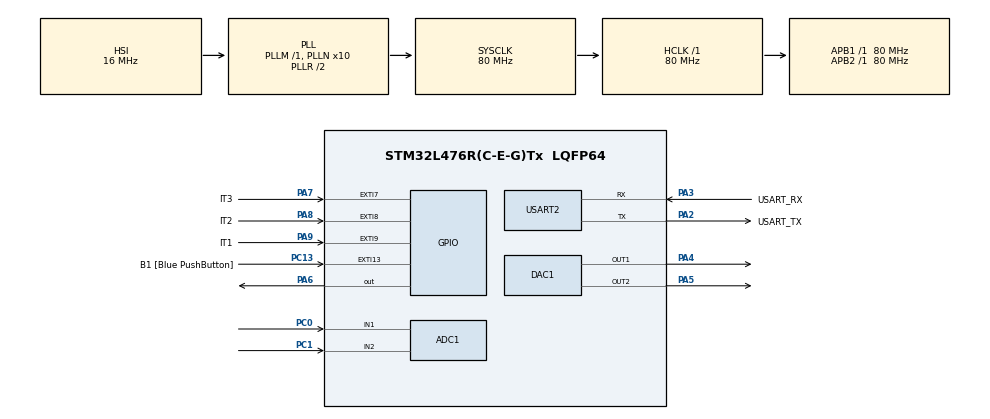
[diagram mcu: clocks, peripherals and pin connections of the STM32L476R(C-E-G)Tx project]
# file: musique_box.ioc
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ADC1.Channel-1\#ChannelRegularConversion=ADC_CHANNEL_1
ADC1.Channel-2\#ChannelRegularConversion=ADC_CHANNEL_2
ADC1.NbrOfConversion=2
ADC1.NbrOfConversionFlag=1
ADC1.OffsetNumber-1\#ChannelRegularConversion=ADC_OFFSET_NONE
ADC1.OffsetNumber-2\#ChannelRegularConversion=ADC_OFFSET_NONE
ADC1.Rank-1\#ChannelRegularConversion=1
ADC1.Rank-2\#ChannelRegularConversion=2
ADC1.SamplingTime-1\#ChannelRegularConversion=ADC_SAMPLETIME_640CYCLES_5
ADC1.SamplingTime-2\#ChannelRegularConversion=ADC_SAMPLETIME_640CYCLES_5
ADC1.master=1
DAC1.DAC_Channel-DAC_OUT2=DAC_CHANNEL_2
Mcu.Family=STM32L4
Mcu.Name=STM32L476R(C-E-G)Tx
Mcu.Package=LQFP64
NVIC.EXTI9_5_IRQn=true\:8\:0\:true\:false\:true\:true\:true
NVIC.PriorityGroup=NVIC_PRIORITYGROUP_4
NVIC.USART2_IRQn=true\:0\:0\:false\:false\:true\:true\:true
PA13\ (JTMS-SWDIO).GPIO_Label=TMS
PA13\ (JTMS-SWDIO).Mode=Serial_Wire
PA13\ (JTMS-SWDIO).Signal=SYS_JTMS-SWDIO
PA14\ (JTCK-SWCLK).GPIO_Label=TCK
PA14\ (JTCK-SWCLK).Mode=Serial_Wire
PA14\ (JTCK-SWCLK).Signal=SYS_JTCK-SWCLK
PA2.GPIO_Label=USART_TX
PA2.GPIO_Mode=GPIO_MODE_AF_PP
PA2.GPIO_PuPd=GPIO_NOPULL
PA2.GPIO_Speed=GPIO_SPEED_FREQ_VERY_HIGH
PA2.Mode=Asynchronous
PA2.Signal=USART2_TX
PA3.GPIO_Label=USART_RX
PA3.GPIO_Mode=GPIO_MODE_AF_PP
PA3.GPIO_PuPd=GPIO_NOPULL
PA3.GPIO_Speed=GPIO_SPEED_FREQ_VERY_HIGH
PA3.Mode=Asynchronous
PA3.Signal=USART2_RX
PA4.Signal=COMP_DAC11_group
PA5.Signal=COMP_DAC12_group
PA6.Signal=GPIO_Output
PA7.GPIO_Label=IT3
PA7.GPIO_ModeDefaultEXTI=GPIO_MODE_IT_RISING_FALLING
PA7.GPIO_PuPd=GPIO_PULLUP
PA7.Signal=GPXTI7
PA8.GPIO_Label=IT2
PA8.GPIO_ModeDefaultEXTI=GPIO_MODE_IT_RISING_FALLING
PA8.GPIO_PuPd=GPIO_PULLUP
PA8.Signal=GPXTI8
PA9.GPIO_Label=IT1
PA9.GPIO_ModeDefaultEXTI=GPIO_MODE_IT_RISING_FALLING
PA9.GPIO_PuPd=GPIO_PULLUP
PA9.Signal=GPXTI9
PB3\ (JTDO-TRACESWO).GPIO_Label=SWO
PB3\ (JTDO-TRACESWO).Signal=SYS_JTDO-SWO
PC0.Signal=ADCx_IN1
PC1.Signal=ADCx_IN2
PC13.GPIO_Label=B1 [Blue PushButton]
PC13.GPIO_ModeDefaultEXTI=GPIO_MODE_IT_FALLING
PC13.GPIO_PuPd=GPIO_NOPULL
PC13.Signal=GPXTI13
PC14-OSC32_IN\ (PC14).Mode=LSE-External-Oscillator
PC14-OSC32_IN\ (PC14).Signal=RCC_OSC32_IN
PC15-OSC32_OUT\ (PC15).Mode=LSE-External-Oscillator
PC15-OSC32_OUT\ (PC15).Signal=RCC_OSC32_OUT
PH0-OSC_IN\ (PH0).Signal=RCC_OSC_IN
PH1-OSC_OUT\ (PH1).Signal=RCC_OSC_OUT
ProjectManager.HeapSize=0x200
ProjectManager.StackSize=0x400
ProjectManager.TargetToolchain=STM32CubeIDE
RCC.ADCFreq_Value=64000000
RCC.AHBFreq_Value=80000000
RCC.APB1Freq_Value=80000000
RCC.APB1TimFreq_Value=80000000
RCC.APB2Freq_Value=80000000
RCC.APB2TimFreq_Value=80000000
RCC.CortexFreq_Value=80000000
RCC.HCLKFreq_Value=80000000
RCC.HSE_VALUE=8000000
RCC.HSI_VALUE=16000000
RCC.MSI_VALUE=4000000
RCC.PLLN=10
RCC.PLLSourceVirtual=RCC_PLLSOURCE_HSI
RCC.PREFETCH_ENABLE=1
RCC.SYSCLKFreq_VALUE=80000000
RCC.SYSCLKSource=RCC_SYSCLKSOURCE_PLLCLK
RCC.USBFreq_Value=64000000
RCC.VCOOutputFreq_Value=160000000
SH.ADCx_IN1.0=ADC1_IN1,IN1-Single-Ended
SH.ADCx_IN2.0=ADC1_IN2,IN2-Single-Ended
SH.COMP_DAC11_group.0=DAC1_OUT1,DAC_OUT1
SH.COMP_DAC12_group.0=DAC1_OUT2,DAC_OUT2
USART2.VirtualMode-Asynchronous=VM_ASYNC
VP_ADC1_Vref_Input.Mode=IN-Vrefint
board=NUCLEO-L476RG

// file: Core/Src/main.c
/* USER CODE BEGIN Header */
/**
  ******************************************************************************
  * @file           : main.c
  * @brief          : Main program body
  ******************************************************************************
  * @attention
  *
  * <h2><center>&copy; Copyright (c) 2022 STMicroelectronics.
  * All rights reserved.</center></h2>
  *
  * This software component is licensed by ST under BSD 3-Clause license,
  * the "License"; You may not use this file except in compliance with the
  * License. You may obtain a copy of the License at:
  *                        opensource.org/licenses/BSD-3-Clause
  *
  ******************************************************************************
  */
/* USER CODE END Header */
#include "main.h"

/* USER CODE BEGIN PM */
#define min(a,b) (((a) < (b)) ? (a) : (b))
#define max(a,b) (((a) > (b)) ? (a) : (b))

/* USER CODE END PM */

ADC_HandleTypeDef hadc1;

DAC_HandleTypeDef hdac1;

UART_HandleTypeDef huart2;

/* USER CODE BEGIN PV */

uint32_t adc_vals_old[2] = {};
uint32_t adc_vals[2];

uint8_t rx = 0;
uint8_t rx_buf[128] = {0};
int tail = 0, head = 0;

uint8_t notes[128] = {0};
uint8_t note_priority = 1;
uint32_t tones[] = {1508, 1587, 1666, 1745, 1824, 1903, 1986, 2065, 2146, 2225, 2304, 2383,
		1508, 1587, 1666, 1745, 1824, 1903, 1986, 2065, 2146, 2225, 2304, 2383,
		1508, 1587, 1666, 1745, 1824, 1903, 1986, 2065, 2146, 2225, 2304, 2383,
		1508, 1587, 1666, 1745, 1824, 1903, 1986, 2065, 2146, 2225, 2304, 2383,
		1508, 1587, 1666, 1745, 1824, 1903, 1986, 2065, 2146, 2225, 2304, 2383,
		/*c4*/ 1508, 1587, 1666, 1745, 1824, 1903, 1986, 2065, 2146, 2225, 2304, 2383,
		1508, 1587, 1666, 1745, 1824, 1903, 1986, 2065, 2146, 2225, 2304, 2383,
		1508, 1587, 1666, 1745, 1824, 1903, 1986, 2065, 2146, 2225, 2304, 2383,
		1508, 1587, 1666, 1745, 1824, 1903, 1986, 2065, 2146, 2225, 2304, 2383,
		1508, 1587, 1666, 1745, 1824, 1903, 1986, 2065, 2146, 2225, 2304, 2383,
		1508, 1587, 1666, 1745, 1824, 1903, 1986, 2065, 2146, 2225, 2304, 2383,
		1508, 1587, 1666, 1745, 1824, 1903, 1986, 2065};

/* USER CODE END PV */

void SystemClock_Config(void);
static void MX_GPIO_Init(void);
static void MX_USART2_UART_Init(void);
static void MX_ADC1_Init(void);
static void MX_DAC1_Init(void);

/* USER CODE BEGIN 0 */

uint32_t endian_swap(uint32_t value)
{
	_Static_assert(sizeof(uint32_t) == 4, "I can't imagine world where this is false");
	char buf[sizeof(uint32_t)];
	memcpy(buf, &value, sizeof(value));
	// swap(buf[0], buf[3])
	uint32_t t = buf[0]; buf[0] = buf[3]; buf[3] = t;
	// swap(buf[1], buf[2])
	t = buf[1];	buf[1] = buf[2]; buf[2] = t;
	memcpy(&value, buf, sizeof(value));
	return value;
}

void HAL_GPIO_EXTI_Callback(uint16_t GPIO_Pin)
{
	if (GPIO_Pin == IT1_Pin) {
		uint8_t val = 0b10000000;
		//HAL_UART_Transmit(&huart2, (uint8_t *) &val, sizeof(val), HAL_MAX_DELAY);

		if(HAL_GPIO_ReadPin(GPIOA, GPIO_PIN_9)){
			// falling
			printf("D%04lu\n", 0);
		} else{
			// rising
			printf("D%04lu\n", 4095);
		}
	}

	if (GPIO_Pin == IT2_Pin) {
		uint8_t val = 0b10000001;
		//HAL_UART_Transmit(&huart2, (uint8_t *) &val, sizeof(val), HAL_MAX_DELAY);
		if(HAL_GPIO_ReadPin(GPIOA, GPIO_PIN_8)){
			// falling
			printf("C%04lu\n", 0);
		} else{
			// rising
			printf("C%04lu\n", 4095);
		}
	}

	if (GPIO_Pin == IT3_Pin) {
		uint8_t val = 0b10000010;
		//HAL_UART_Transmit(&huart2, (uint8_t *) &val, sizeof(val), HAL_MAX_DELAY);
		if(HAL_GPIO_ReadPin(GPIOA, GPIO_PIN_7)){
			// falling
			printf("E%04lu\n", 0);
		} else{
			// rising
			printf("E%04lu\n", 4095);
		}
	}
}

int __io_putchar(int ch)
{
	if (ch == '\n') {
		__io_putchar('\r');
	}
    HAL_UART_Transmit(&huart2, (uint8_t*)&ch, 1, HAL_MAX_DELAY);
    return 1;
}

/* USER CODE END 0 */

int main(void)
{

  /* MCU Configuration--------------------------------------------------------*/

  /* Reset of all peripherals, Initializes the Flash interface and the Systick. */
  HAL_Init();

  /* Configure the system clock */
  SystemClock_Config();

  /* Initialize all configured peripherals */
  MX_GPIO_Init();
  MX_USART2_UART_Init();
  MX_ADC1_Init();
  MX_DAC1_Init();
  /* USER CODE BEGIN 2 */

  // start both DAC channels
  HAL_DAC_Start(&hdac1, DAC1_CHANNEL_1);
  HAL_DAC_Start(&hdac1, DAC1_CHANNEL_2);

  // configure built-in ADC
  HAL_ADCEx_Calibration_Start(&hadc1, ADC_SINGLE_ENDED);

  HAL_UART_Receive_IT(&huart2, &rx, 1);
  /* USER CODE END 2 */

  /* Infinite loop */
  /* USER CODE BEGIN WHILE */
  while (1)
  {
	/*int transmit_flag = 0;
	char adc_chars[sizeof(uint32_t)] = {};

	for(int i = 0; i < 2; i++){
		HAL_ADC_Start(&hadc1);
		HAL_ADC_PollForConversion(&hadc1, HAL_MAX_DELAY);
		adc_vals[i] = HAL_ADC_GetValue(&hadc1);
		if((adc_vals[i] > adc_vals_old[i] && adc_vals[i] - adc_vals_old[i] > 100) ||
				(adc_vals[i] < adc_vals_old[i] && adc_vals_old[i] - adc_vals[i] > 100)){
			printf("NR %d do zmiany\n", i);
			uint32_t temp = adc_vals[i];
			adc_vals_old[i] = temp;

			adc_vals[i] = endian_swap(temp);
			memcpy(adc_chars + (sizeof(uint32_t)*i), &adc_vals[i], sizeof(uint32_t));
			transmit_flag = 1;
		}

	}

	if(transmit_flag == 1){
		//HAL_UART_Transmit(&huart2, (uint8_t *) &adc_chars[0], 2 * sizeof(uint32_t), HAL_MAX_DELAY);
	}*/

	int note_update_flag = 0;
	if (head != tail){
		if((rx_buf[tail] & 0b11110000) == 0b10010000){
			// note on
			int bytes_available = (head - tail + 128) % 128;
			if (bytes_available >= 3){
				// if all 3 bytes available
				// printf("G%04d\n", rx_buf[tail+1]);
				notes[rx_buf[tail+1]] = note_priority++;
				note_update_flag = 1;
				tail = (tail+3)%128;
			}

		}else if((rx_buf[tail] & 0b11110000) == 0b10000000){
			// note off
			int bytes_available = (head - tail + 128) % 128;
			if (bytes_available >= 3){
				// if all 3 bytes available
				// printf("G%04d\n", rx_buf[tail+1]);
				notes[rx_buf[tail+1]] = 0;
				note_update_flag = 1;
				tail = (tail+3)%128;
			}
		}else{
			// anything else
			// for now drop the data
			tail = (tail+1)%128;
		}

		if(note_update_flag){
			int newest_note = -1;
			uint8_t max_priority = 0;
			for(int i = 0; i < 128; i++){
				if(notes[i] > max_priority){
					max_priority = notes[i];
					newest_note = i;
				}
			}
			if(newest_note >= 0){
				DAC1->DHR12R1 = max(min(tones[newest_note], 4095), 0);
				HAL_GPIO_WritePin(GPIOA, GPIO_PIN_6, GPIO_PIN_SET);
			}else{
				HAL_GPIO_WritePin(GPIOA, GPIO_PIN_6, GPIO_PIN_RESET);
			}
		}

		/////////////////////// A //////////////////////
		/*uint8_t data[3];
		data[0] = 0b10010000;
		data[1] = rx_buf[tail];
		data[2] = 0b01111111;
		HAL_UART_Transmit(&huart3, &data[0], 3, HAL_MAX_DELAY);

		HAL_Delay(500);
		data[0] = 0b10000000;
		HAL_UART_Transmit(&huart3, &data[0], 3, HAL_MAX_DELAY);

		tail = (tail+1)%128;*/
	}

	char adc_chars[sizeof(uint32_t)] = {};

	for(int i = 0; i < 2; i++){
		HAL_ADC_Start(&hadc1);
		HAL_ADC_PollForConversion(&hadc1, HAL_MAX_DELAY);
		adc_vals[i] = 4095 - HAL_ADC_GetValue(&hadc1);
	}

	printf("A%04lu\n", adc_vals[0]);
	printf("B%04lu\n", adc_vals[1]);

/*
	for(int i = 0; i < 2; i++){
		uint32_t temp = adc_vals[i];
		adc_vals[i] = endian_swap(temp) << 3;

		memcpy(adc_chars + (sizeof(uint32_t)*i), &adc_vals[i], sizeof(uint32_t));
	}

	HAL_UART_Transmit(&huart2, (uint8_t *) &adc_chars[0], 2 * sizeof(uint32_t), HAL_MAX_DELAY);
*/
	HAL_Delay(100);

    /* USER CODE END WHILE */

  }
}

void SystemClock_Config(void)
{
  RCC_OscInitTypeDef RCC_OscInitStruct = {0};
  RCC_ClkInitTypeDef RCC_ClkInitStruct = {0};

  /** Configure the main internal regulator output voltage
  */
  if (HAL_PWREx_ControlVoltageScaling(PWR_REGULATOR_VOLTAGE_SCALE1) != HAL_OK)
  {
    Error_Handler();
  }
  /** Initializes the RCC Oscillators according to the specified parameters
  * in the RCC_OscInitTypeDef structure.
  */
  RCC_OscInitStruct.OscillatorType = RCC_OSCILLATORTYPE_HSI;
  RCC_OscInitStruct.HSIState = RCC_HSI_ON;
  RCC_OscInitStruct.HSICalibrationValue = RCC_HSICALIBRATION_DEFAULT;
  RCC_OscInitStruct.PLL.PLLState = RCC_PLL_ON;
  RCC_OscInitStruct.PLL.PLLSource = RCC_PLLSOURCE_HSI;
  RCC_OscInitStruct.PLL.PLLM = 1;
  RCC_OscInitStruct.PLL.PLLN = 10;
  RCC_OscInitStruct.PLL.PLLP = RCC_PLLP_DIV7;
  RCC_OscInitStruct.PLL.PLLQ = RCC_PLLQ_DIV2;
  RCC_OscInitStruct.PLL.PLLR = RCC_PLLR_DIV2;
  if (HAL_RCC_OscConfig(&RCC_OscInitStruct) != HAL_OK)
  {
    Error_Handler();
  }
  /** Initializes the CPU, AHB and APB buses clocks
  */
  RCC_ClkInitStruct.ClockType = RCC_CLOCKTYPE_HCLK|RCC_CLOCKTYPE_SYSCLK
                              |RCC_CLOCKTYPE_PCLK1|RCC_CLOCKTYPE_PCLK2;
  RCC_ClkInitStruct.SYSCLKSource = RCC_SYSCLKSOURCE_PLLCLK;
  RCC_ClkInitStruct.AHBCLKDivider = RCC_SYSCLK_DIV1;
  RCC_ClkInitStruct.APB1CLKDivider = RCC_HCLK_DIV1;
  RCC_ClkInitStruct.APB2CLKDivider = RCC_HCLK_DIV1;

  if (HAL_RCC_ClockConfig(&RCC_ClkInitStruct, FLASH_LATENCY_4) != HAL_OK)
  {
    Error_Handler();
  }
}

static void MX_ADC1_Init(void)
{

  ADC_MultiModeTypeDef multimode = {0};
  ADC_ChannelConfTypeDef sConfig = {0};

  /** Common config
  */
  hadc1.Instance = ADC1;
  hadc1.Init.ClockPrescaler = ADC_CLOCK_ASYNC_DIV1;
  hadc1.Init.Resolution = ADC_RESOLUTION_12B;
  hadc1.Init.DataAlign = ADC_DATAALIGN_RIGHT;
  hadc1.Init.ScanConvMode = ADC_SCAN_ENABLE;
  hadc1.Init.EOCSelection = ADC_EOC_SINGLE_CONV;
  hadc1.Init.LowPowerAutoWait = DISABLE;
  hadc1.Init.ContinuousConvMode = DISABLE;
  hadc1.Init.NbrOfConversion = 2;
  hadc1.Init.DiscontinuousConvMode = DISABLE;
  hadc1.Init.ExternalTrigConv = ADC_SOFTWARE_START;
  hadc1.Init.ExternalTrigConvEdge = ADC_EXTERNALTRIGCONVEDGE_NONE;
  hadc1.Init.DMAContinuousRequests = DISABLE;
  hadc1.Init.Overrun = ADC_OVR_DATA_PRESERVED;
  hadc1.Init.OversamplingMode = DISABLE;
  if (HAL_ADC_Init(&hadc1) != HAL_OK)
  {
    Error_Handler();
  }
  /** Configure the ADC multi-mode
  */
  multimode.Mode = ADC_MODE_INDEPENDENT;
  if (HAL_ADCEx_MultiModeConfigChannel(&hadc1, &multimode) != HAL_OK)
  {
    Error_Handler();
  }
  /** Configure Regular Channel
  */
  sConfig.Channel = ADC_CHANNEL_1;
  sConfig.Rank = ADC_REGULAR_RANK_1;
  sConfig.SamplingTime = ADC_SAMPLETIME_640CYCLES_5;
  sConfig.SingleDiff = ADC_SINGLE_ENDED;
  sConfig.OffsetNumber = ADC_OFFSET_NONE;
  sConfig.Offset = 0;
  if (HAL_ADC_ConfigChannel(&hadc1, &sConfig) != HAL_OK)
  {
    Error_Handler();
  }
  /** Configure Regular Channel
  */
  sConfig.Channel = ADC_CHANNEL_2;
  sConfig.Rank = ADC_REGULAR_RANK_2;
  if (HAL_ADC_ConfigChannel(&hadc1, &sConfig) != HAL_OK)
  {
    Error_Handler();
  }

}

static void MX_DAC1_Init(void)
{

  DAC_ChannelConfTypeDef sConfig = {0};

  /** DAC Initialization
  */
  hdac1.Instance = DAC1;
  if (HAL_DAC_Init(&hdac1) != HAL_OK)
  {
    Error_Handler();
  }
  /** DAC channel OUT1 config
  */
  sConfig.DAC_SampleAndHold = DAC_SAMPLEANDHOLD_DISABLE;
  sConfig.DAC_Trigger = DAC_TRIGGER_NONE;
  sConfig.DAC_OutputBuffer = DAC_OUTPUTBUFFER_ENABLE;
  sConfig.DAC_ConnectOnChipPeripheral = DAC_CHIPCONNECT_DISABLE;
  sConfig.DAC_UserTrimming = DAC_TRIMMING_FACTORY;
  if (HAL_DAC_ConfigChannel(&hdac1, &sConfig, DAC_CHANNEL_1) != HAL_OK)
  {
    Error_Handler();
  }
  /** DAC channel OUT2 config
  */
  if (HAL_DAC_ConfigChannel(&hdac1, &sConfig, DAC_CHANNEL_2) != HAL_OK)
  {
    Error_Handler();
  }

}

static void MX_USART2_UART_Init(void)
{

  huart2.Instance = USART2;
  huart2.Init.BaudRate = 115200;
  huart2.Init.WordLength = UART_WORDLENGTH_8B;
  huart2.Init.StopBits = UART_STOPBITS_1;
  huart2.Init.Parity = UART_PARITY_NONE;
  huart2.Init.Mode = UART_MODE_TX_RX;
  huart2.Init.HwFlowCtl = UART_HWCONTROL_NONE;
  huart2.Init.OverSampling = UART_OVERSAMPLING_16;
  huart2.Init.OneBitSampling = UART_ONE_BIT_SAMPLE_DISABLE;
  huart2.AdvancedInit.AdvFeatureInit = UART_ADVFEATURE_NO_INIT;
  if (HAL_UART_Init(&huart2) != HAL_OK)
  {
    Error_Handler();
  }

}

static void MX_GPIO_Init(void)
{
  GPIO_InitTypeDef GPIO_InitStruct = {0};

  /* GPIO Ports Clock Enable */
  __HAL_RCC_GPIOC_CLK_ENABLE();
  __HAL_RCC_GPIOH_CLK_ENABLE();
  __HAL_RCC_GPIOA_CLK_ENABLE();
  __HAL_RCC_GPIOB_CLK_ENABLE();

  /*Configure GPIO pin Output Level */
  HAL_GPIO_WritePin(GPIOA, GPIO_PIN_6, GPIO_PIN_RESET);

  /*Configure GPIO pin : B1_Pin */
  GPIO_InitStruct.Pin = B1_Pin;
  GPIO_InitStruct.Mode = GPIO_MODE_IT_FALLING;
  GPIO_InitStruct.Pull = GPIO_NOPULL;
  HAL_GPIO_Init(B1_GPIO_Port, &GPIO_InitStruct);

  /*Configure GPIO pin : PA6 */
  GPIO_InitStruct.Pin = GPIO_PIN_6;
  GPIO_InitStruct.Mode = GPIO_MODE_OUTPUT_PP;
  GPIO_InitStruct.Pull = GPIO_NOPULL;
  GPIO_InitStruct.Speed = GPIO_SPEED_FREQ_LOW;
  HAL_GPIO_Init(GPIOA, &GPIO_InitStruct);

  /*Configure GPIO pins : IT3_Pin IT2_Pin IT1_Pin */
  GPIO_InitStruct.Pin = IT3_Pin|IT2_Pin|IT1_Pin;
  GPIO_InitStruct.Mode = GPIO_MODE_IT_RISING_FALLING;
  GPIO_InitStruct.Pull = GPIO_PULLUP;
  HAL_GPIO_Init(GPIOA, &GPIO_InitStruct);

  /* EXTI interrupt init*/
  HAL_NVIC_SetPriority(EXTI9_5_IRQn, 8, 0);
  HAL_NVIC_EnableIRQ(EXTI9_5_IRQn);

}

void Error_Handler(void)
{
  __disable_irq();
  while (1)
  {
  }
}

/************************ (C) COPYRIGHT STMicroelectronics *****END OF FILE****/
